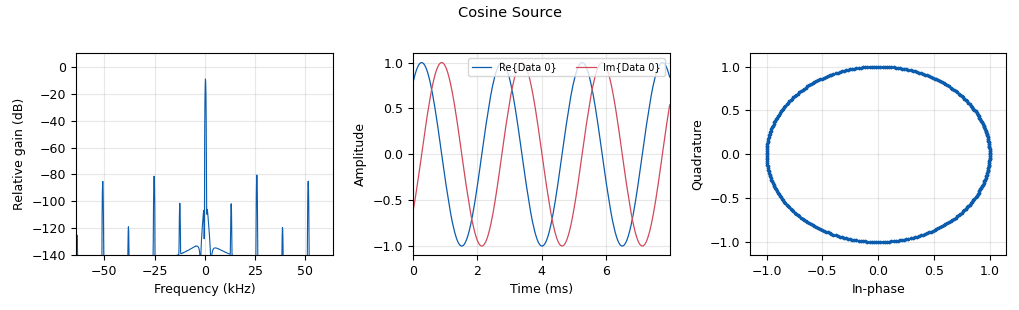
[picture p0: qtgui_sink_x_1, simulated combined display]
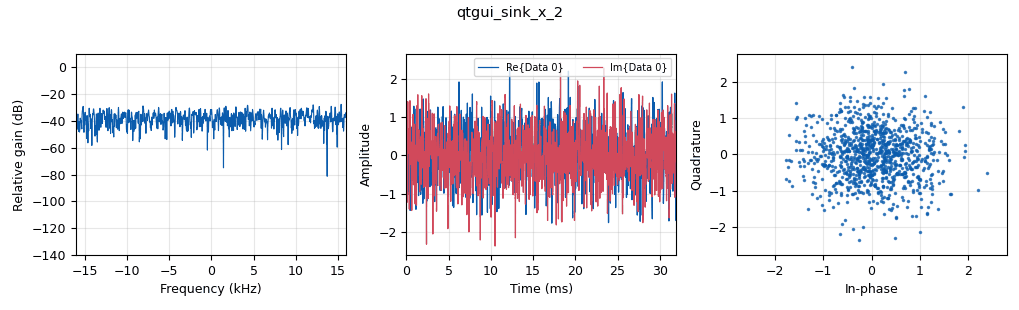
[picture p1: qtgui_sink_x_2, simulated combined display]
options:
  parameters:
    generate_options: qt_gui
    id: SimpleSource
    output_language: python
    title: Not titled yet
  states: {}

blocks:
- name: samp_rate
  id: variable
  parameters:
    value: '32000'
  states: {}
- name: analog_noise_source_x_0
  id: analog_noise_source_x
  parameters:
    amp: '1'
    noise_type: analog.GR_GAUSSIAN
    seed: '0'
    type: complex
  states: {}
- name: analog_sig_source_x_0
  id: analog_sig_source_x
  parameters:
    amp: '1'
    freq: '1000'
    offset: '0'
    phase: '0'
    samp_rate: samp_rate
    type: complex
    waveform: analog.GR_COS_WAVE
  states: {}
- name: blocks_file_source_0
  id: blocks_file_source
  parameters:
    file: /home/pfb/Work/PWR/test/Development/GNURadio/test-signal.float.cmplx
    repeat: 'True'
    type: complex
  states: {}
- name: blocks_multiply_const_vxx_0
  id: blocks_multiply_const_vxx
  parameters:
    const: 1/200000
    type: complex
  states: {}
- name: blocks_throttle_0
  id: blocks_throttle
  parameters:
    samples_per_second: samp_rate
    type: complex
  states: {}
- name: mmse_resampler_xx_0
  id: mmse_resampler_xx
  parameters:
    phase_shift: '0'
    resamp_ratio: 1/10
    type: complex
  states: {}
- name: mmse_resampler_xx_1
  id: mmse_resampler_xx
  parameters:
    phase_shift: '0'
    resamp_ratio: '1'
    type: complex
  states: {}
- name: qtgui_sink_x_0
  id: qtgui_sink_x
  parameters:
    bw: samp_rate * 4
    fc: '0'
    fftsize: '1024'
    name: '"File Source"'
    type: complex
    wintype: firdes.WIN_BLACKMAN_hARRIS
  states: {}
- name: qtgui_sink_x_1
  id: qtgui_sink_x
  parameters:
    bw: samp_rate * 4
    fc: '0'
    fftsize: '1024'
    name: '"Cosine Source"'
    type: complex
    wintype: firdes.WIN_BLACKMAN_hARRIS
  states: {}
- name: qtgui_sink_x_2
  id: qtgui_sink_x
  parameters:
    bw: samp_rate
    fc: '0'
    fftsize: '1024'
    type: complex
    wintype: firdes.WIN_BLACKMAN_hARRIS
  states: {}

connections:
- [analog_noise_source_x_0, '0', qtgui_sink_x_2, '0']
- [analog_sig_source_x_0, '0', blocks_throttle_0, '0']
- [blocks_file_source_0, '0', blocks_multiply_const_vxx_0, '0']
- [blocks_multiply_const_vxx_0, '0', mmse_resampler_xx_1, '0']
- [blocks_throttle_0, '0', mmse_resampler_xx_0, '0']
- [mmse_resampler_xx_0, '0', qtgui_sink_x_1, '0']
- [mmse_resampler_xx_1, '0', qtgui_sink_x_0, '0']

metadata:
  file_format: 1
